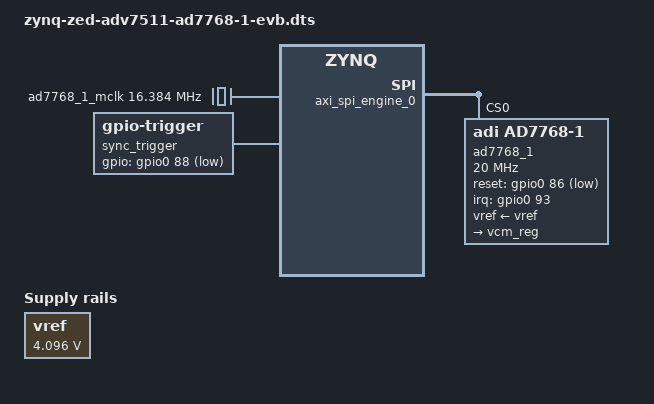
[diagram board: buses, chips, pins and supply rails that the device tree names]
// SPDX-License-Identifier: GPL-2.0
/*
 * Analog Devices AD7768-1
 * https://wiki.analog.com/resources/eval/user-guides/ad7768-1
 *
 * hdl_project: <ad77681evb/zed>
 * board_revision: <B>
 *
 * Copyright (C) 2020 Analog Devices Inc.
*/
/dts-v1/;

#include "zynq-zed.dtsi"
#include "zynq-zed-adv7511.dtsi"
#include <dt-bindings/interrupt-controller/irq.h>
#include <dt-bindings/gpio/gpio.h>

#include <dt-bindings/iio/adc/adi,ad7768-1.h>

/ {
	vref: regulator-vref {
		compatible = "regulator-fixed";
		regulator-name = "fixed-supply";
		regulator-min-microvolt = <4096000>;
		regulator-max-microvolt = <4096000>;
		regulator-always-on;
	};

	clocks {
		ad7768_1_mclk: clock@0 {
			#clock-cells = <0>;
			compatible = "fixed-clock";
			clock-frequency = <16384000>;
		};
	};

	sync_trigger: triggers {
		compatible = "gpio-trigger";
		#trigger-source-cells = <0>;
		gpios = <&gpio0 88 GPIO_ACTIVE_LOW>;
	};
};

&fpga_axi {
	rx_dma: dma-controller@44a30000 {
		compatible = "adi,axi-dmac-1.00.a";
		reg = <0x44a30000 0x1000>;
		#dma-cells = <1>;
		interrupt-parent = <&intc>;
		interrupts = <0 57 IRQ_TYPE_LEVEL_HIGH>;
		clocks = <&clkc 16>;
	};

	spi_clock: clock-controller@44a70000 {
		compatible = "adi,axi-clkgen-2.00.a";
		reg = <0x44a70000 0x10000>;
		#clock-cells = <0>;
		clocks = <&clkc 15>, <&clkc 16>;
		clock-names = "clkin1", "s_axi_aclk";
	};

	axi_spi_engine_0: spi@44a00000 {
		compatible = "adi,axi-spi-engine-1.00.a";
		reg = <0x44a00000 0x1000>;
		interrupt-parent = <&intc>;
		interrupts = <0 56 IRQ_TYPE_LEVEL_HIGH>;
		clocks = <&clkc 15 &spi_clock>;
		clock-names = "s_axi_aclk", "spi_clk";
		num-cs = <1>;

		// Offload mode
		trigger-sources = <&ad7768_1 AD7768_TRIGGER_SOURCE_DRDY>;
		dmas = <&rx_dma 0>;
		dma-names = "offload0-rx";
		// Offload mode

		#address-cells = <0x1>;
		#size-cells = <0x0>;

		ad7768_1: adc@0 {
			compatible = "adi,ad7768-1";
			reg = <0>;
			spi-max-frequency = <20000000>;
			spi-cpol;
			spi-cpha;
			vref-supply = <&vref>;
			gpio-controller;
			interrupts = <93 IRQ_TYPE_EDGE_RISING>;
			interrupt-parent = <&gpio0>;
			trigger-sources = <&sync_trigger>;
			reset-gpios = <&gpio0 86 GPIO_ACTIVE_LOW>;
			clocks = <&ad7768_1_mclk>;
			clock-names = "mclk";
			#trigger-source-cells = <1>;

			#io-channel-cells = <1>;
			#address-cells = <1>;
			#size-cells = <0>;
			regulators {
				vcm_reg: vcm-output {
					regulator-name = "ad7768-1-vcm";
				};
			};

			channel@0 {
				reg = <0>;
				label = "channel_0";
			};
		};
	};
};
